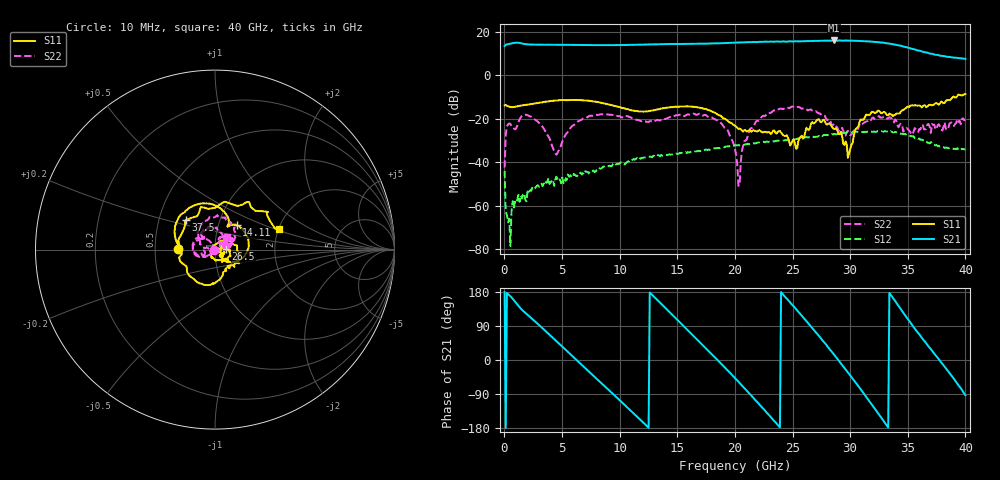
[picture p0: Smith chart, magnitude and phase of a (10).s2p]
! Analog Devices Inc.
! Device:  HMC994A_Die
! Description: GaAs pHEMT MMIC.
! Frequency:  DC -  30.00 GHz
! Package:N/A ==> Die
! Conditions:	Vdd = 10.0 V
!		Vgg2=3.5V
!		Adjust Vgg1 between -2 to 0 V to achieve Idd = 250 mA typical.
!		Idd = 250mA
!		Pin = -25 dBm
!		Temp = +25 C
! Calibration: Calibration plain is at probe tips
! Misc:JM
! Freq(GHz)	S11a(dB)	S11p(deg)	S21a(dB)	S21p(deg)	S12a(dB)	S12p(deg)	S22a(dB)	S22p(deg)
# GHz S  dB  R 50
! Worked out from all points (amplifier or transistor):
!   401 points, 10 MHz to 40 GHz, reference 50 ohm
!   highest |S21| = 16.1 dB at 28.6 GHz (marker M1)
!   |S21| within 3 dB of that: start of sweep to 34.81 GHz
!   unconditionally stable (mu >= 1): start of sweep to end of sweep
!   at 6.608 GHz: K = 15.72, MAG = 14.4 dB, |S12| = -44.7 dB
!   at 20 GHz: K = 3.60, MAG = 15.1 dB, |S12| = -32.1 dB
!   at 40 GHz: K = 9.11, MAG = 8.3 dB, |S12| = -34.2 dB
!   S11 on the Smith chart (normalised r, x): 10 MHz: 0.66, +0.00; 14.11 GHz: 1.22, +0.34; 26.5 GHz: 1.13, +0.01; 37.5 GHz: 0.69, +0.24; 40 GHz: 2.00, +0.53
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0.01  -13.79 179.4  13.54 179.0  -43.94 -149.6  -42.34 -143.6
3.2092  -12.45 159.3  14.12 86.5  -49.83 163.4  -23.06 127.5
6.708325  -11.38 109.5  13.99 -13.0  -45.66 63.3  -20.34 -159.7
9.907525  -14.44 66.5  13.95 -103.6  -40.80 -20.7  -18.80 145.2
11.80705  -16.54 62.2  14.18 -158.3  -38.38 -73.5  -20.95 131.8
13.40665  -15.57 56.1  14.40 154.2  -36.74 -120.6  -20.67 139.2
14.10647  -14.84 48.4  14.42 132.9  -36.68 -139.7  -19.78 134.8
15.90603  -14.23 17.6  14.50 78.8  -35.24 168.1  -17.90 115.0
17.70557  -15.97 -16.8  14.67 24.2  -34.03 117.3  -19.19 80.8
20.10497  -23.55 -50.6  15.06 -51.0  -32.11 44.5  -36.75 63.3
21.80455  -25.70 -17.5  15.31 -106.7  -31.20 -7.4  -21.38 160.1
23.70407  -26.01 -52.7  15.58 -171.5  -29.92 -68.5  -15.85 115.6
25.00375  -29.89 -21.1  15.55 144.6  -29.54 -111.4  -14.31 85.9
26.50337  -24.41 4.2  15.80 91.8  -28.48 -165.5  -15.74 48.4
26.70333  -21.46 -4.3  15.81 84.8  -28.05 -171.5  -16.20 47.4
28.60285  -24.61 -86.5  16.07 14.2  -26.96 116.4  -22.22 18.0
29.70257  -31.81 -169.7  16.02 -28.9  -26.25 75.3  -25.87 35.8
31.10222  -20.43 29.7  15.77 -85.0  -25.93 18.4  -22.14 60.6
33.40165  -17.59 -52.1  14.64 177.1  -26.06 -71.8  -19.24 14.7
35.10122  -14.57 -93.5  12.65 103.7  -27.69 -140.6  -25.32 29.5
37.50062  -12.72 135.2  9.45 9.4  -31.97 127.6  -24.50 12.2
40  -8.60 17.9  7.62 -92.7  -34.16 34.3  -20.26 45.5
